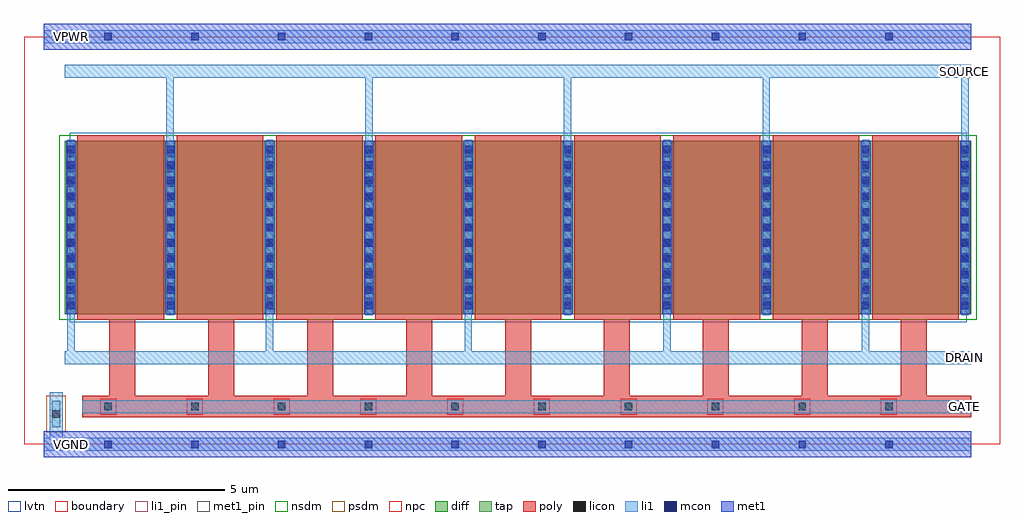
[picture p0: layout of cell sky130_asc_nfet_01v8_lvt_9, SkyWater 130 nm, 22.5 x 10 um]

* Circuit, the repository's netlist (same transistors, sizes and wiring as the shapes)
* NGSPICE file created from sky130_asc_nfet_01v8_lvt_9.ext - technology: sky130A

.subckt sky130_asc_nfet_01v8_lvt_9 GATE SOURCE DRAIN VPWR VGND
X0 SOURCE GATE DRAIN VGND sky130_fd_pr__nfet_01v8_lvt ad=5.8e+12p pd=4.29e+07u as=5.8e+12p ps=4.29e+07u w=4e+06u l=2e+06u
X1 SOURCE GATE DRAIN VGND sky130_fd_pr__nfet_01v8_lvt ad=0p pd=0u as=0p ps=0u w=4e+06u l=2e+06u
X2 DRAIN GATE SOURCE VGND sky130_fd_pr__nfet_01v8_lvt ad=0p pd=0u as=0p ps=0u w=4e+06u l=2e+06u
X3 SOURCE GATE DRAIN VGND sky130_fd_pr__nfet_01v8_lvt ad=0p pd=0u as=0p ps=0u w=4e+06u l=2e+06u
X4 DRAIN GATE SOURCE VGND sky130_fd_pr__nfet_01v8_lvt ad=0p pd=0u as=0p ps=0u w=4e+06u l=2e+06u
X5 SOURCE GATE DRAIN VGND sky130_fd_pr__nfet_01v8_lvt ad=0p pd=0u as=0p ps=0u w=4e+06u l=2e+06u
X6 DRAIN GATE SOURCE VGND sky130_fd_pr__nfet_01v8_lvt ad=0p pd=0u as=0p ps=0u w=4e+06u l=2e+06u
X7 SOURCE GATE DRAIN VGND sky130_fd_pr__nfet_01v8_lvt ad=0p pd=0u as=0p ps=0u w=4e+06u l=2e+06u
X8 DRAIN GATE SOURCE VGND sky130_fd_pr__nfet_01v8_lvt ad=0p pd=0u as=0p ps=0u w=4e+06u l=2e+06u
.ends

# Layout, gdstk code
import gdstk
lib = gdstk.Library(unit=1e-6, precision=1e-09)
def R(c, l, rs):  # rectangles x0, y0, x1, y1
    for r in rs: c.add(gdstk.rectangle(r[:2], r[2:], *l))
def A(c, l, x, y, w, h, nx, ny, dx, dy):  # array of equal rectangles
    R(c, l, [(x+i*dx, y+j*dy, x+i*dx+w, y+j*dy+h) for i in range(nx) for j in range(ny)])
diff = (65, 20)
tap = (65, 44)
poly = (66, 20)
licon = (66, 44)
li1_pin = (67, 16)
li1 = (67, 20)
mcon = (67, 44)
met1_pin = (68, 16)
met1 = (68, 20)
nsdm = (93, 44)
psdm = (94, 20)
npc = (95, 20)
lvtn = (125, 44)
boundary = (235, 4)

sky130_asc_nfet_01v8_lvt = lib.new_cell('sky130_asc_nfet_01v8_lvt_9')
R(sky130_asc_nfet_01v8_lvt, diff, [(0.94,3,21.84,7)])
R(sky130_asc_nfet_01v8_lvt, tap, [(0.64,0.4,0.84,1)])
A(sky130_asc_nfet_01v8_lvt, poly, 1.97, 1.12, 0.6, 1.75, 9, 1, 2.28, 0)
A(sky130_asc_nfet_01v8_lvt, poly, 1.23, 2.87, 2, 4.26, 9, 1, 2.29, 0)
R(sky130_asc_nfet_01v8_lvt, poly, [(1.34,0.62,21.84,1.12)])
A(sky130_asc_nfet_01v8_lvt, licon, 1.855, 0.785, 0.17, 0.17, 10, 1, 2, 0)
A(sky130_asc_nfet_01v8_lvt, licon, 1, 3.215, 0.17, 0.17, 10, 11, 2.29, 0.34)
R(sky130_asc_nfet_01v8_lvt, licon, [(0.655,0.615,0.825,0.785)])
R(sky130_asc_nfet_01v8_lvt, li1_pin, [(21.54,0.72,21.84,1.02), (21.54,1.85,21.84,2.15), (21.54,8.45,21.84,8.75)])
A(sky130_asc_nfet_01v8_lvt, li1, 0.995, 2.15, 0.17, 0.83, 5, 1, 4.58, 0)
A(sky130_asc_nfet_01v8_lvt, li1, 0.995, 2.98, 0.175, 0.29, 5, 1, 4.58, 0)
A(sky130_asc_nfet_01v8_lvt, li1, 3.29, 2.98, 0.17, 3.95, 5, 1, 4.58, 0)
A(sky130_asc_nfet_01v8_lvt, li1, 1, 3.27, 0.17, 3.75, 5, 1, 4.58, 0)
A(sky130_asc_nfet_01v8_lvt, li1, 3.285, 6.93, 0.175, 0.09, 5, 1, 4.58, 0)
A(sky130_asc_nfet_01v8_lvt, li1, 3.285, 7.02, 0.17, 1.43, 5, 1, 4.58, 0)
R(sky130_asc_nfet_01v8_lvt, li1, [(0.45,-0.15,21.84,0.15), (0.59,0.15,0.89,1.2), (1.34,0.72,21.84,1.02), (0.94,1.85,21.84,2.15), (0.94,8.45,21.84,8.75), (0.45,9.25,21.84,9.55)])
A(sky130_asc_nfet_01v8_lvt, mcon, 1.855, -0.085, 0.17, 0.17, 10, 2, 2, 9.4)
A(sky130_asc_nfet_01v8_lvt, mcon, 1, 3.115, 0.17, 0.17, 10, 11, 2.29, 0.36)
R(sky130_asc_nfet_01v8_lvt, met1_pin, [(0.94,-0.15,1.24,0.15), (0.94,9.25,1.24,9.55)])
A(sky130_asc_nfet_01v8_lvt, met1, 0.97, 3, 0.23, 4, 10, 1, 2.29, 0)
R(sky130_asc_nfet_01v8_lvt, met1, [(0.45,-0.3,21.84,0.3), (0.45,9.1,21.84,9.7)])
R(sky130_asc_nfet_01v8_lvt, nsdm, [(0.815,2.875,21.965,7.125)])
R(sky130_asc_nfet_01v8_lvt, psdm, [(0.515,0.275,0.965,1.125)])
A(sky130_asc_nfet_01v8_lvt, npc, 1.755, 0.685, 0.37, 0.37, 10, 1, 2, 0)
R(sky130_asc_nfet_01v8_lvt, lvtn, [(1.05,2.82,21.73,7.18)])
R(sky130_asc_nfet_01v8_lvt, boundary, [(0,0,22.5,9.4)])
sky130_asc_nfet_01v8_lvt.add(gdstk.Label('GATE', (21.69,0.87), layer=67, texttype=16))
sky130_asc_nfet_01v8_lvt.add(gdstk.Label('SOURCE', (21.69,8.6), layer=67, texttype=16))
sky130_asc_nfet_01v8_lvt.add(gdstk.Label('DRAIN', (21.69,2), layer=67, texttype=16))
sky130_asc_nfet_01v8_lvt.add(gdstk.Label('VPWR', (1.09,9.4), layer=68, texttype=16))
sky130_asc_nfet_01v8_lvt.add(gdstk.Label('VGND', (1.09,0), layer=68, texttype=16))

lib.write_gds('sky130_asc_nfet_01v8_lvt_9.gds')
